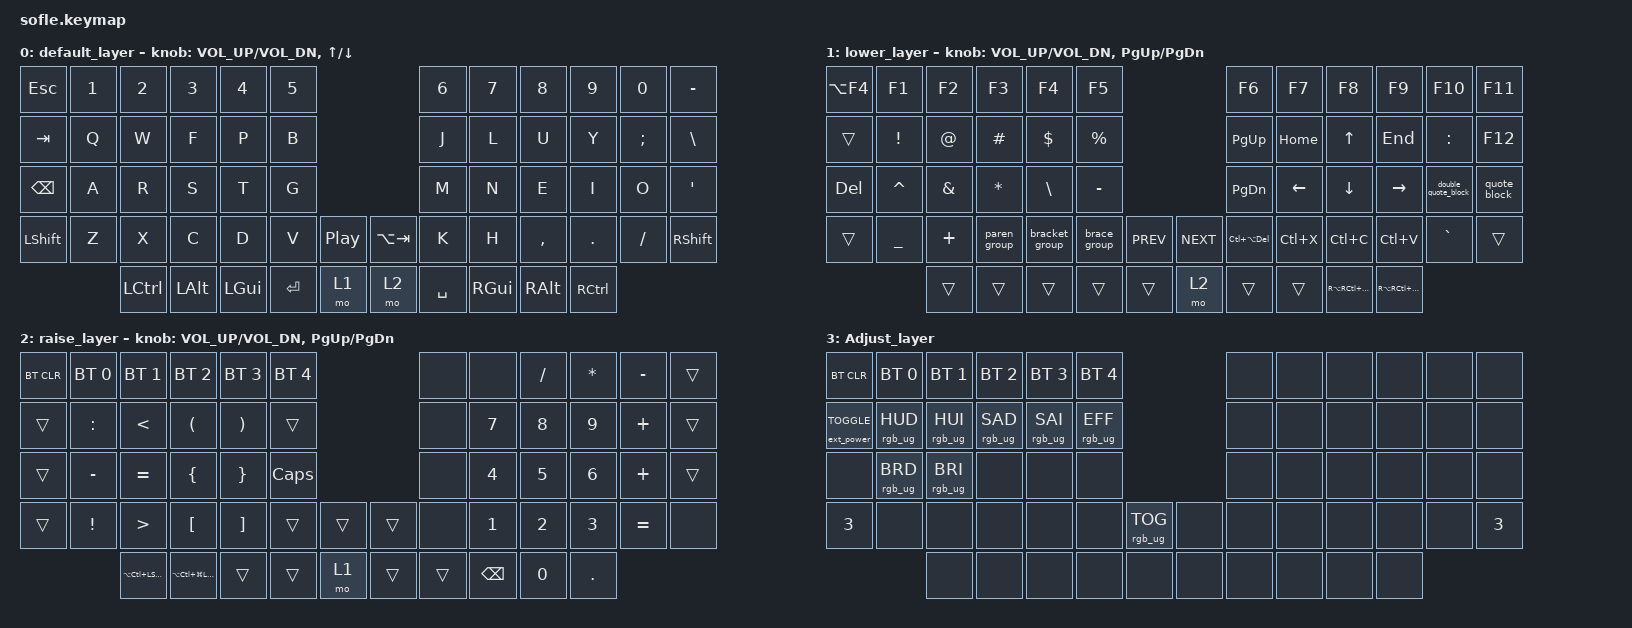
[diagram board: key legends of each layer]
/*
 * Copyright (c) 2020 The ZMK Contributors
 *
 * SPDX-License-Identifier: MIT
 */
/*
 * Temporarily here because nice nano v2 spi is not defined on ZMK Yet
 * Source: https://github.com/zmkfirmware/zmk/blob/main/app/boards/shields/reviung41/boards/nice_nano.overlay
 * GitHub Issue: https://github.com/zmkfirmware/zmk/issues/885
 */

#include <dt-bindings/led/led.h>
#include <behaviors.dtsi>
#include <dt-bindings/zmk/bt.h>
#include <dt-bindings/zmk/ext_power.h>
#include <dt-bindings/zmk/keys.h>
#include <dt-bindings/zmk/rgb.h>

&pinctrl {
    spi3_default: spi3_default {
        group1 { psels = <NRF_PSEL(SPIM_MOSI, 0, 8)>; };
    };

    spi3_sleep: spi3_sleep {
        group1 {
            psels = <NRF_PSEL(SPIM_MOSI, 0, 8)>;
            low-power-enable;
        };
    };
};

&spi3 {
    compatible = "nordic,nrf-spim";
    status = "okay";
    pinctrl-0 = <&spi3_default>;
    pinctrl-1 = <&spi3_sleep>;
    pinctrl-names = "default", "sleep";

    led_strip: ws2812@0 {
        compatible = "worldsemi,ws2812-spi";
        label = "WS2812";

        /* SPI */

        reg = <0>; /* ignored, but necessary for SPI bindings */
        spi-max-frequency = <4000000>;

        /* WS2812 */

        chain-length = <30>;
        spi-one-frame = <0x70>;
        spi-zero-frame = <0x40>;
        color-mapping = <LED_COLOR_ID_GREEN LED_COLOR_ID_RED LED_COLOR_ID_BLUE>;
    };
};

/ {
    chosen { zmk,underglow = &led_strip; };
};

/* END temporary RGB support section */

#define BASE 0
#define LOWER 1
#define RAISE 2
#define ADJUST 3

/ {
    // Activate ADJUST layer by pressing raise and lower

    conditional_layers {
        compatible = "zmk,conditional-layers";

        tri_layer {
            if-layers = <LOWER RAISE>;
            then-layer = <ADJUST>;
        };
    };

    combos {
        compatible = "zmk,combos";

        new_combo {
            bindings = <&kp CAPSLOCK>;
            key-positions = <36 49>;
            layers = <0>;
        };
    };

    macros {
        snipscreen: snipscreen {
            compatible = "zmk,behavior-macro";
            label = "SNIPSCREEN";
            #binding-cells = <0>;
            bindings = <&kp LS(LG(S))>;
        };

        quote_block: quote_block {
            compatible = "zmk,behavior-macro";
            label = "QUOTE_BLOCK";
            #binding-cells = <0>;
            bindings = <&kp APOSTROPHE &kp APOSTROPHE &kp LEFT_ARROW>;
        };

        double_quote_block: double_quote_block {
            compatible = "zmk,behavior-macro";
            label = "DOUBLE_QUOTE_BLOCK";
            #binding-cells = <0>;
            bindings = <&kp DOUBLE_QUOTES &kp DOUBLE_QUOTES &kp LEFT_ARROW>;
        };

        paren_group: paren_group {
            compatible = "zmk,behavior-macro";
            #binding-cells = <0>;
            bindings = <&kp LEFT_PARENTHESIS &kp RIGHT_PARENTHESIS &kp LEFT_ARROW>;
            label = "PAREN_GROUP";
        };

        bracket_group: bracket_group {
            compatible = "zmk,behavior-macro";
            #binding-cells = <0>;
            bindings = <&kp LEFT_BRACKET &kp RIGHT_BRACKET &kp LEFT_ARROW>;
            label = "BRACKET_GROUP";
        };

        brace_group: brace_group {
            compatible = "zmk,behavior-macro";
            #binding-cells = <0>;
            bindings = <&kp LEFT_BRACE &kp RIGHT_BRACE &kp LEFT_ARROW>;
            label = "BRACE_GROUP";
        };
    };

    keymap {
        compatible = "zmk,keymap";

        default_layer {
            // ------------------------------------------------------------------------------------------------------------
            // |  `    |  1  |  2  |  3   |  4   |  5   |                           |  6   |  7    |  8    |  9   |   0   |       |
            // |  ESC  |  Q  |  W  |  E   |  R   |  T   |                           |  Y   |  U    |  I    |  O   |   P   | BKSPC |
            // |  TAB  |  A  |  S  |  D   |  F   |  G   |                           |  H   |  J    |  K    |  L   |   ;   |   '   |
            // | SHIFT |  Z  |  X  |  C   |  V   |  B   |  C_PLAY_PAUSE  |  |       |  N   |  M    |  ,    |  .   |   /   | SHIFT |
            //               | GUI | ALT  | CTRL | LOWER|      ENTER     |  | SPACE | RAISE| CTRL  | ALT   | GUI  |

            bindings = <
&kp ESC        &kp N1  &kp N2            &kp N3    &kp N4        &kp N5                                      &kp N6     &kp N7    &kp N8     &kp N9             &kp N0    &kp MINUS
&kp TAB        &kp Q   &kp W             &kp F     &kp P         &kp B                                       &kp J      &kp L     &kp U      &kp Y              &kp SEMI  &kp BSLH
&kp BACKSPACE  &kp A   &kp R             &kp S     &kp T         &kp G                                       &kp M      &kp N     &kp E      &kp I              &kp O     &kp SQT
&kp LSHFT      &kp Z   &kp X             &kp C     &kp D         &kp V      &kp C_PLAY_PAUSE    &kp LA(TAB)  &kp K      &kp H     &kp COMMA  &kp DOT            &kp FSLH  &kp RSHFT
                       &kp LEFT_CONTROL  &kp LALT  &kp LEFT_GUI  &kp ENTER  &mo 1               &mo 2        &kp SPACE  &kp RGUI  &kp RALT   &kp RIGHT_CONTROL
            >;

            sensor-bindings =
                <&inc_dec_kp C_VOL_UP C_VOL_DN>,
                <&inc_dec_kp UP_ARROW DOWN_ARROW>;
        };

        lower_layer {
            // TODO: Some binds are waiting for shifted keycode support.
            // ------------------------------------------------------------------------------------------------------------
            // |       |  F1 |  F2 |  F3  |  F4  |  F5  |                   |  F6  |  F7   |  F8   |  F9  |  F10  |  F11  |
            // | `     |   1 |   2 |   3  |   4  |   5  |                   |   6  |   7   |   8   |   9  |    0  |  F12  |
            // |       |  !  |  @  |  #   |  $   |  %   |                   |  ^   |  &    |  *    |  (   |   )   |   |   |
            // |       |  =  |  -  |  +   |  {   |  }   |        |  |       |  [   |  ]    |  ;    |  :   |   \   |       |
            //               |     |      |      |      |        |  |       |      |       |       |      |

            bindings = <
&kp LA(F4)  &kp F1          &kp F2         &kp F3        &kp F4          &kp F5                                  &kp F6           &kp F7     &kp F8                       &kp F9                   &kp F10              &kp F11
&trans      &kp EXCL        &kp AT         &kp HASH      &kp DOLLAR      &kp PERCENT                             &kp PG_UP        &kp HOME   &kp UP                       &kp END                  &kp COLON            &kp F12
&kp DEL     &kp CARET       &kp AMPERSAND  &kp ASTERISK  &kp BACKSLASH   &kp MINUS                               &kp PG_DN        &kp LEFT   &kp DOWN                     &kp RIGHT                &double_quote_block  &quote_block
&trans      &kp UNDERSCORE  &kp PLUS       &paren_group  &bracket_group  &brace_group  &kp C_PREV    &kp C_NEXT  &kp LC(LA(DEL))  &kp LC(X)  &kp LC(C)                    &kp LC(V)                &kp GRAVE            &trans
                            &trans         &trans        &trans          &trans        &trans        &mo 2       &trans           &trans     &kp RA(RC(RG(RIGHT_SHIFT)))  &kp RA(RC(RIGHT_SHIFT))
            >;

            sensor-bindings =
                <&inc_dec_kp C_VOL_UP C_VOL_DN>,
                <&inc_dec_kp PG_UP PG_DN>;
        };

        raise_layer {
            // ------------------------------------------------------------------------------------------------------------
            // |BTCLR| BT1  | BT2  |  BT3  |  BT4  |  BT5 |                |      |      |       |      |       |       |
            // |     | INS  | PSCR | GUI   |       |      |                | PGUP |      |   ^   |      |       |       |
            // |     | ALT  | CTRL | SHIFT |       | CAPS |                | PGDN |   <- |   v   |  ->  |  DEL  | BKSPC |
            // |     | UNDO | CUT  | COPY  | PASTE |      |      |  |      |      |      |       |      |       |       |
            //              |      |       |       |      |      |  |      |      |      |       |      |

            bindings = <
&bt BT_CLR  &bt BT_SEL 0     &bt BT_SEL 1            &bt BT_SEL 2                &bt BT_SEL 3           &bt BT_SEL 4                    &none   &none          &kp SLASH     &kp ASTERISK  &kp MINUS  &trans
&trans      &kp COLON        &kp LESS_THAN           &kp LEFT_PARENTHESIS        &kp RIGHT_PARENTHESIS  &trans                          &none   &kp NUMBER_7   &kp NUMBER_8  &kp NUMBER_9  &kp PLUS   &trans
&trans      &kp MINUS        &kp EQUAL               &kp LEFT_BRACE              &kp RIGHT_BRACE        &kp CLCK                        &none   &kp NUMBER_4   &kp NUMBER_5  &kp NUMBER_6  &kp PLUS   &trans
&trans      &kp EXCLAMATION  &kp GREATER_THAN        &kp LEFT_BRACKET            &kp RIGHT_BRACKET      &trans        &trans    &trans  &none   &kp NUMBER_1   &kp NUMBER_2  &kp NUMBER_3  &kp EQUAL  &none
                             &kp LA(LC(LEFT_SHIFT))  &kp LA(LC(LG(LEFT_SHIFT)))  &trans                 &trans        &mo 1     &trans  &trans  &kp BACKSPACE  &kp NUMBER_0  &kp PERIOD
            >;

            sensor-bindings =
                <&inc_dec_kp C_VOL_UP C_VOL_DN>,
                <&inc_dec_kp PG_UP PG_DN>;
        };

        // ------------------------------------------------------------------------------------------------------------
        // |BTCLR | BT1   | BT2   |  BT3  |  BT4  |  BT5  |                |      |      |       |      |       |       |
        // |EXTPWR|RGB_HUD|RGB_HUI|RGB_SAD|RGB_SAI|RGB_EFF|                |      |      |       |      |       |       |
        // |      |RGB_BRD|RGB_BRI|       |       |       |                |      |      |       |      |       |       |
        // |      |       |       |       |       |       |RGB_TOG| |      |      |      |       |      |       |       |
        //                |       |       |       |       |       | |      |      |      |       |      |

        Adjust_layer {
            bindings = <
&bt BT_CLR                       &bt BT_SEL 0     &bt BT_SEL 1     &bt BT_SEL 2     &bt BT_SEL 3     &bt BT_SEL 4                               &none  &none  &none  &none  &none  &none
&ext_power EXT_POWER_TOGGLE_CMD  &rgb_ug RGB_HUD  &rgb_ug RGB_HUI  &rgb_ug RGB_SAD  &rgb_ug RGB_SAI  &rgb_ug RGB_EFF                            &none  &none  &none  &none  &none  &none
&none                            &rgb_ug RGB_BRD  &rgb_ug RGB_BRI  &none            &none            &none                                      &none  &none  &none  &none  &none  &none
&kp NUMBER_3                     &none            &none            &none            &none            &none            &rgb_ug RGB_TOG    &none  &none  &none  &none  &none  &none  &kp NUMBER_3
                                                  &none            &none            &none            &none            &none              &none  &none  &none  &none  &none
            >;
        };
    };
};
